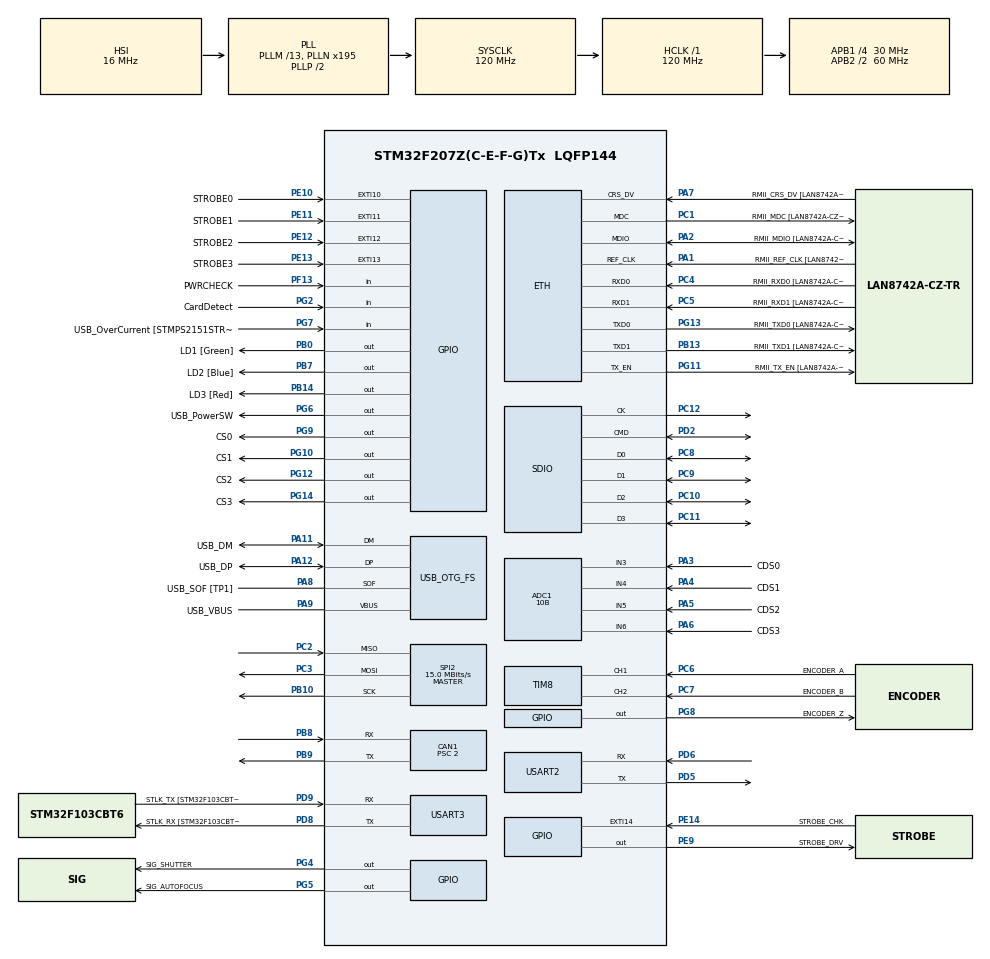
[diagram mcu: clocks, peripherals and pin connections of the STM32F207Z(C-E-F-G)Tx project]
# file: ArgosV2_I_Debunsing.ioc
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ADC1.Channel-0\#ChannelRegularConversion=ADC_CHANNEL_3
ADC1.Channel-1\#ChannelRegularConversion=ADC_CHANNEL_4
ADC1.Channel-2\#ChannelRegularConversion=ADC_CHANNEL_5
ADC1.Channel-3\#ChannelRegularConversion=ADC_CHANNEL_6
ADC1.NbrOfConversion=4
ADC1.NbrOfConversionFlag=1
ADC1.Rank-0\#ChannelRegularConversion=1
ADC1.Rank-1\#ChannelRegularConversion=2
ADC1.Rank-2\#ChannelRegularConversion=3
ADC1.Rank-3\#ChannelRegularConversion=4
ADC1.Resolution=ADC_RESOLUTION_10B
ADC1.SamplingTime-0\#ChannelRegularConversion=ADC_SAMPLETIME_3CYCLES
ADC1.SamplingTime-1\#ChannelRegularConversion=ADC_SAMPLETIME_3CYCLES
ADC1.SamplingTime-2\#ChannelRegularConversion=ADC_SAMPLETIME_3CYCLES
ADC1.SamplingTime-3\#ChannelRegularConversion=ADC_SAMPLETIME_3CYCLES
ADC1.master=1
CAN1.BS1=CAN_BS1_13TQ
CAN1.BS2=CAN_BS2_2TQ
CAN1.CalculateBaudRate=937500
CAN1.CalculateTimeBit=1066.66
CAN1.CalculateTimeQuantum=66.66666666666667
CAN1.Prescaler=2
Dma.ADC1.0.Direction=DMA_PERIPH_TO_MEMORY
Dma.ADC1.0.FIFOMode=DMA_FIFOMODE_DISABLE
Dma.ADC1.0.Instance=DMA2_Stream0
Dma.ADC1.0.MemDataAlignment=DMA_MDATAALIGN_WORD
Dma.ADC1.0.MemInc=DMA_MINC_ENABLE
Dma.ADC1.0.Mode=DMA_CIRCULAR
Dma.ADC1.0.PeriphDataAlignment=DMA_PDATAALIGN_WORD
Dma.ADC1.0.PeriphInc=DMA_PINC_DISABLE
Dma.ADC1.0.Priority=DMA_PRIORITY_LOW
Dma.Request0=ADC1
Dma.Request1=SDIO_RX
Dma.Request2=SDIO_TX
Dma.Request3=SPI2_RX
Dma.Request4=SPI2_TX
Dma.Request5=USART2_RX
Dma.Request6=USART2_TX
Dma.SDIO_RX.1.Direction=DMA_PERIPH_TO_MEMORY
Dma.SDIO_RX.1.FIFOMode=DMA_FIFOMODE_ENABLE
Dma.SDIO_RX.1.FIFOThreshold=DMA_FIFO_THRESHOLD_FULL
Dma.SDIO_RX.1.Instance=DMA2_Stream3
Dma.SDIO_RX.1.MemBurst=DMA_MBURST_INC4
Dma.SDIO_RX.1.MemDataAlignment=DMA_MDATAALIGN_WORD
Dma.SDIO_RX.1.MemInc=DMA_MINC_ENABLE
Dma.SDIO_RX.1.Mode=DMA_PFCTRL
Dma.SDIO_RX.1.PeriphBurst=DMA_PBURST_INC4
Dma.SDIO_RX.1.PeriphDataAlignment=DMA_PDATAALIGN_WORD
Dma.SDIO_RX.1.PeriphInc=DMA_PINC_DISABLE
Dma.SDIO_RX.1.Priority=DMA_PRIORITY_LOW
Dma.SDIO_TX.2.Direction=DMA_MEMORY_TO_PERIPH
Dma.SDIO_TX.2.FIFOMode=DMA_FIFOMODE_ENABLE
Dma.SDIO_TX.2.FIFOThreshold=DMA_FIFO_THRESHOLD_FULL
Dma.SDIO_TX.2.Instance=DMA2_Stream6
Dma.SDIO_TX.2.MemBurst=DMA_MBURST_INC4
Dma.SDIO_TX.2.MemDataAlignment=DMA_MDATAALIGN_WORD
Dma.SDIO_TX.2.MemInc=DMA_MINC_ENABLE
Dma.SDIO_TX.2.Mode=DMA_PFCTRL
Dma.SDIO_TX.2.PeriphBurst=DMA_PBURST_INC4
Dma.SDIO_TX.2.PeriphDataAlignment=DMA_PDATAALIGN_WORD
Dma.SDIO_TX.2.PeriphInc=DMA_PINC_DISABLE
Dma.SDIO_TX.2.Priority=DMA_PRIORITY_LOW
Dma.SPI2_RX.3.Direction=DMA_PERIPH_TO_MEMORY
Dma.SPI2_RX.3.FIFOMode=DMA_FIFOMODE_DISABLE
Dma.SPI2_RX.3.Instance=DMA1_Stream3
Dma.SPI2_RX.3.MemDataAlignment=DMA_MDATAALIGN_BYTE
Dma.SPI2_RX.3.MemInc=DMA_MINC_ENABLE
Dma.SPI2_RX.3.Mode=DMA_NORMAL
Dma.SPI2_RX.3.PeriphDataAlignment=DMA_PDATAALIGN_BYTE
Dma.SPI2_RX.3.PeriphInc=DMA_PINC_DISABLE
Dma.SPI2_RX.3.Priority=DMA_PRIORITY_LOW
Dma.SPI2_TX.4.Direction=DMA_MEMORY_TO_PERIPH
Dma.SPI2_TX.4.FIFOMode=DMA_FIFOMODE_DISABLE
Dma.SPI2_TX.4.Instance=DMA1_Stream4
Dma.SPI2_TX.4.MemDataAlignment=DMA_MDATAALIGN_BYTE
Dma.SPI2_TX.4.MemInc=DMA_MINC_ENABLE
Dma.SPI2_TX.4.Mode=DMA_NORMAL
Dma.SPI2_TX.4.PeriphDataAlignment=DMA_PDATAALIGN_BYTE
Dma.SPI2_TX.4.PeriphInc=DMA_PINC_DISABLE
Dma.SPI2_TX.4.Priority=DMA_PRIORITY_LOW
Dma.USART2_RX.5.Direction=DMA_PERIPH_TO_MEMORY
Dma.USART2_RX.5.FIFOMode=DMA_FIFOMODE_DISABLE
Dma.USART2_RX.5.Instance=DMA1_Stream5
Dma.USART2_RX.5.MemDataAlignment=DMA_MDATAALIGN_BYTE
Dma.USART2_RX.5.MemInc=DMA_MINC_ENABLE
Dma.USART2_RX.5.Mode=DMA_NORMAL
Dma.USART2_RX.5.PeriphDataAlignment=DMA_PDATAALIGN_BYTE
Dma.USART2_RX.5.PeriphInc=DMA_PINC_DISABLE
Dma.USART2_RX.5.Priority=DMA_PRIORITY_LOW
Dma.USART2_TX.6.Direction=DMA_MEMORY_TO_PERIPH
Dma.USART2_TX.6.FIFOMode=DMA_FIFOMODE_DISABLE
Dma.USART2_TX.6.Instance=DMA1_Stream6
Dma.USART2_TX.6.MemDataAlignment=DMA_MDATAALIGN_BYTE
Dma.USART2_TX.6.MemInc=DMA_MINC_ENABLE
Dma.USART2_TX.6.Mode=DMA_NORMAL
Dma.USART2_TX.6.PeriphDataAlignment=DMA_PDATAALIGN_BYTE
Dma.USART2_TX.6.PeriphInc=DMA_PINC_DISABLE
Dma.USART2_TX.6.Priority=DMA_PRIORITY_LOW
ETH.MediaInterface=ETH_MEDIA_INTERFACE_RMII
ETH.PHY_Name=LAN8742A_PHY_ADDRESS
ETH.PHY_Value=0
ETH.PhyAddress=0
FATFS.BSP.number=1
FATFS._CODE_PAGE=949
FATFS._LFN_UNICODE=1
FATFS._USE_LFN=2
FATFS0.BSP.STBoard=false
FATFS0.BSP.api=Unknown
FATFS0.BSP.i2caddr=0
FATFS0.BSP.instance=PG2
FATFS0.BSP.ip=GPIO
FATFS0.BSP.mode=Input
FATFS0.BSP.name=Detect_SDIO
FATFS0.BSP.solution=PG2
LWIP.GATEWAY_ADDRESS=192.168.001.001
LWIP.IP_ADDRESS=192.168.001.230
LWIP.LWIP_DHCP=0
LWIP.LWIP_ICMP=1
LWIP.LWIP_TCP=0
LWIP.NETMASK_ADDRESS=255.255.255.000
LWIP.Version=v2.0.3_Cube
Mcu.Family=STM32F2
Mcu.Name=STM32F207Z(C-E-F-G)Tx
Mcu.Package=LQFP144
NVIC.ADC_IRQn=true\:1\:0\:true\:false\:true\:true\:true
NVIC.CAN1_RX0_IRQn=true\:1\:0\:true\:false\:true\:true\:true
NVIC.CAN1_RX1_IRQn=true\:1\:0\:true\:false\:true\:true\:true
NVIC.CAN1_SCE_IRQn=true\:1\:0\:true\:false\:true\:true\:true
NVIC.CAN1_TX_IRQn=true\:1\:0\:true\:false\:true\:true\:true
NVIC.DMA1_Stream3_IRQn=true\:1\:0\:true\:false\:true\:false\:true
NVIC.DMA1_Stream4_IRQn=true\:1\:0\:true\:false\:true\:false\:true
NVIC.DMA1_Stream5_IRQn=true\:1\:0\:true\:false\:true\:false\:true
NVIC.DMA1_Stream6_IRQn=true\:1\:0\:true\:false\:true\:false\:true
NVIC.DMA2_Stream0_IRQn=true\:1\:0\:true\:false\:true\:false\:true
NVIC.DMA2_Stream3_IRQn=true\:1\:0\:true\:false\:true\:false\:true
NVIC.DMA2_Stream6_IRQn=true\:1\:0\:true\:false\:true\:false\:true
NVIC.ETH_IRQn=true\:1\:0\:true\:false\:true\:true\:true
NVIC.ETH_WKUP_IRQn=true\:1\:0\:true\:false\:true\:true\:true
NVIC.EXTI15_10_IRQn=true\:0\:0\:true\:false\:true\:true\:true
NVIC.OTG_FS_IRQn=true\:1\:0\:true\:false\:true\:false\:true
NVIC.PriorityGroup=NVIC_PRIORITYGROUP_4
NVIC.SDIO_IRQn=true\:1\:0\:true\:false\:true\:true\:true
NVIC.SPI2_IRQn=true\:1\:0\:true\:false\:true\:true\:true
NVIC.TIM3_IRQn=true\:1\:0\:true\:false\:true\:true\:true
NVIC.USART2_IRQn=true\:1\:0\:true\:false\:true\:true\:true
PA1.GPIO_Label=RMII_REF_CLK [LAN8742A-CZ-TR_REFCLK0]
PA1.Mode=RMII
PA1.Signal=ETH_REF_CLK
PA10.GPIO_Label=USB_ID
PA10.Signal=USB_OTG_FS_ID
PA11.GPIO_Label=USB_DM
PA11.Mode=Device_Only
PA11.Signal=USB_OTG_FS_DM
PA12.GPIO_Label=USB_DP
PA12.Mode=Device_Only
PA12.Signal=USB_OTG_FS_DP
PA13.GPIO_Label=TMS
PA13.Mode=Serial_Wire
PA13.Signal=SYS_JTMS-SWDIO
PA14.GPIO_Label=TCK
PA14.Mode=Serial_Wire
PA14.Signal=SYS_JTCK-SWCLK
PA2.GPIO_Label=RMII_MDIO [LAN8742A-CZ-TR_MDIO]
PA2.Mode=RMII
PA2.Signal=ETH_MDIO
PA3.GPIO_Label=CDS0
PA3.Signal=ADCx_IN3
PA4.GPIO_Label=CDS1
PA4.Signal=ADCx_IN4
PA5.GPIO_Label=CDS2
PA5.Signal=ADCx_IN5
PA6.GPIO_Label=CDS3
PA6.Signal=ADCx_IN6
PA7.GPIO_Label=RMII_CRS_DV [LAN8742A-CZ-TR_CRS_DV]
PA7.Mode=RMII
PA7.Signal=ETH_CRS_DV
PA8.GPIO_Label=USB_SOF [TP1]
PA8.Mode=Activate_SOF_FS
PA8.Signal=USB_OTG_FS_SOF
PA9.GPIO_Label=USB_VBUS
PA9.Mode=Activate_VBUS
PA9.Signal=USB_OTG_FS_VBUS
PB0.GPIO_Label=LD1 [Green]
PB0.GPIO_Speed=GPIO_SPEED_FREQ_VERY_HIGH
PB0.Signal=GPIO_Output
PB10.Mode=Full_Duplex_Master
PB10.Signal=SPI2_SCK
PB13.GPIO_Label=RMII_TXD1 [LAN8742A-CZ-TR_TXD1]
PB13.Mode=RMII
PB13.Signal=ETH_TXD1
PB14.GPIO_Label=LD3 [Red]
PB14.GPIO_Speed=GPIO_SPEED_FREQ_VERY_HIGH
PB14.Signal=GPIO_Output
PB3.GPIO_Label=SWO
PB3.Signal=SYS_JTDO-SWO
PB7.GPIO_Label=LD2 [Blue]
PB7.GPIO_Speed=GPIO_SPEED_FREQ_VERY_HIGH
PB7.Signal=GPIO_Output
PB8.Mode=CAN_Activate
PB8.Signal=CAN1_RX
PB9.Mode=CAN_Activate
PB9.Signal=CAN1_TX
PC1.GPIO_Label=RMII_MDC [LAN8742A-CZ-TR_MDC]
PC1.Mode=RMII
PC1.Signal=ETH_MDC
PC10.GPIO_PuPd=GPIO_PULLUP
PC10.Mode=SD_4_bits_Wide_bus
PC10.Signal=SDIO_D2
PC11.GPIO_PuPd=GPIO_PULLUP
PC11.Mode=SD_4_bits_Wide_bus
PC11.Signal=SDIO_D3
PC12.GPIO_PuPd=GPIO_NOPULL
PC12.Mode=SD_4_bits_Wide_bus
PC12.Signal=SDIO_CK
PC14-OSC32_IN.Mode=LSE-External-Oscillator
PC14-OSC32_IN.Signal=RCC_OSC32_IN
PC15-OSC32_OUT.Mode=LSE-External-Oscillator
PC15-OSC32_OUT.Signal=RCC_OSC32_OUT
PC2.Mode=Full_Duplex_Master
PC2.Signal=SPI2_MISO
PC3.Mode=Full_Duplex_Master
PC3.Signal=SPI2_MOSI
PC4.GPIO_Label=RMII_RXD0 [LAN8742A-CZ-TR_RXD0]
PC4.Mode=RMII
PC4.Signal=ETH_RXD0
PC5.GPIO_Label=RMII_RXD1 [LAN8742A-CZ-TR_RXD1]
PC5.Mode=RMII
PC5.Signal=ETH_RXD1
PC6.GPIO_Label=ENCODER_A
PC6.Signal=S_TIM8_CH1
PC7.GPIO_Label=ENCODER_B
PC7.Signal=S_TIM8_CH2
PC8.GPIO_PuPd=GPIO_PULLUP
PC8.Mode=SD_4_bits_Wide_bus
PC8.Signal=SDIO_D0
PC9.GPIO_PuPd=GPIO_PULLUP
PC9.Mode=SD_4_bits_Wide_bus
PC9.Signal=SDIO_D1
PD2.GPIO_PuPd=GPIO_PULLUP
PD2.Mode=SD_4_bits_Wide_bus
PD2.Signal=SDIO_CMD
PD5.Mode=Asynchronous
PD5.Signal=USART2_TX
PD6.Mode=Asynchronous
PD6.Signal=USART2_RX
PD8.GPIO_Label=STLK_RX [STM32F103CBT6_PA3]
PD8.Mode=Asynchronous
PD8.Signal=USART3_TX
PD9.GPIO_Label=STLK_TX [STM32F103CBT6_PA2]
PD9.Mode=Asynchronous
PD9.Signal=USART3_RX
PE10.GPIO_Label=STROBE0
PE10.GPIO_PuPd=GPIO_PULLUP
PE10.Signal=GPXTI10
PE11.GPIO_Label=STROBE1
PE11.GPIO_PuPd=GPIO_PULLUP
PE11.Signal=GPXTI11
PE12.GPIO_Label=STROBE2
PE12.GPIO_PuPd=GPIO_PULLUP
PE12.Signal=GPXTI12
PE13.GPIO_Label=STROBE3
PE13.GPIO_PuPd=GPIO_PULLUP
PE13.Signal=GPXTI13
PE14.GPIO_Label=STROBE_CHK
PE14.GPIO_PuPd=GPIO_PULLUP
PE14.Signal=GPXTI14
PE9.GPIO_Label=STROBE_DRV
PE9.GPIO_Speed=GPIO_SPEED_FREQ_VERY_HIGH
PE9.Signal=GPIO_Output
PF13.GPIO_Label=PWRCHECK
PF13.GPIO_PuPd=GPIO_PULLDOWN
PF13.Signal=GPIO_Input
PG10.GPIO_Label=CS1
PG10.Signal=GPIO_Output
PG11.GPIO_Label=RMII_TX_EN [LAN8742A-CZ-TR_TXEN]
PG11.Mode=RMII
PG11.Signal=ETH_TX_EN
PG12.GPIO_Label=CS2
PG12.Signal=GPIO_Output
PG13.GPIO_Label=RMII_TXD0 [LAN8742A-CZ-TR_TXD0]
PG13.Mode=RMII
PG13.Signal=ETH_TXD0
PG14.GPIO_Label=CS3
PG14.Signal=GPIO_Output
PG2.GPIO_Label=CardDetect
PG2.GPIO_PuPd=GPIO_PULLUP
PG2.Signal=GPIO_Input
PG4.GPIO_Label=SIG_SHUTTER
PG4.GPIO_Speed=GPIO_SPEED_FREQ_VERY_HIGH
PG4.Signal=GPIO_Output
PG5.GPIO_Label=SIG_AUTOFOCUS
PG5.Signal=GPIO_Output
PG6.GPIO_Label=USB_PowerSW
PG6.Signal=GPIO_Output
PG7.GPIO_Label=USB_OverCurrent [STMPS2151STR_FAULT]
PG7.Signal=GPIO_Input
PG8.GPIO_Label=ENCODER_Z
PG8.Signal=GPIO_Output
PG9.GPIO_Label=CS0
PG9.Signal=GPIO_Output
PH0-OSC_IN.GPIO_Label=MCO [STM32F103CBT6_PA8]
PH0-OSC_IN.Mode=HSE-External-Clock-Source
PH0-OSC_IN.Signal=RCC_OSC_IN
PH1-OSC_OUT.Mode=HSE-External-Clock-Source
PH1-OSC_OUT.Signal=RCC_OSC_OUT
ProjectManager.HeapSize=0x400
ProjectManager.StackSize=0x400
ProjectManager.TargetToolchain=STM32CubeIDE
RCC.48MHZClocksFreq_Value=48000000
RCC.AHBFreq_Value=120000000
RCC.APB1CLKDivider=RCC_HCLK_DIV4
RCC.APB1Freq_Value=30000000
RCC.APB1TimFreq_Value=60000000
RCC.APB2CLKDivider=RCC_HCLK_DIV2
RCC.APB2Freq_Value=60000000
RCC.APB2TimFreq_Value=120000000
RCC.CortexFreq_Value=120000000
RCC.HCLKFreq_Value=120000000
RCC.HSE_VALUE=8000000
RCC.HSI_VALUE=16000000
RCC.PLLM=13
RCC.PLLMUL=RCC_PLL_MUL9
RCC.PLLN=195
RCC.PLLQ=5
RCC.PRESCALERUSB=RCC_USBCLKSOURCE_PLL_DIV1_5
RCC.SYSCLKFreq_VALUE=120000000
RCC.SYSCLKSource=RCC_SYSCLKSOURCE_PLLCLK
RCC.SYSCLKSourceVirtual=RCC_SYSCLKSOURCE_PLLCLK
RCC.USBFreq_Value=48000000
RCC.VCOOutputFreq_Value=240000000
SDIO.ClockDiv=1
SH.ADCx_IN3.0=ADC1_IN3,IN3
SH.ADCx_IN4.0=ADC1_IN4,IN4
SH.ADCx_IN5.0=ADC1_IN5,IN5
SH.ADCx_IN6.0=ADC1_IN6,IN6
SH.S_TIM8_CH1.0=TIM8_CH1,Encoder_Interface
SH.S_TIM8_CH2.0=TIM8_CH2,Encoder_Interface
SPI2.CalculateBaudRate=15.0 MBits/s
SPI2.Direction=SPI_DIRECTION_2LINES
SPI2.Mode=SPI_MODE_MASTER
SPI2.VirtualType=VM_MASTER
TIM13.AutoReloadPreload=TIM_AUTORELOAD_PRELOAD_ENABLE
TIM13.Period=32767
TIM13.Prescaler=59999
TIM14.AutoReloadPreload=TIM_AUTORELOAD_PRELOAD_ENABLE
TIM14.Period=32767
TIM14.Prescaler=59999
TIM3.Period=44
TIM3.Prescaler=5999
TIM6.AutoReloadPreload=TIM_AUTORELOAD_PRELOAD_ENABLE
TIM6.Period=32767
TIM6.Prescaler=59999
TIM7.AutoReloadPreload=TIM_AUTORELOAD_PRELOAD_ENABLE
TIM7.Period=32767
TIM7.Prescaler=59999
TIM8.AutoReloadPreload=TIM_AUTORELOAD_PRELOAD_ENABLE
TIM8.EncoderMode=TIM_ENCODERMODE_TI1
USART2.VirtualMode=VM_ASYNC
USART3.VirtualMode=VM_ASYNC
USB_DEVICE.APP_RX_DATA_SIZE-CDC_FS=200
USB_DEVICE.APP_TX_DATA_SIZE-CDC_FS=200
USB_DEVICE.CLASS_NAME_FS=CDC
USB_DEVICE.MANUFACTURER_STRING-CDC_FS=Stryx.Inc
USB_DEVICE.PRODUCT_STRING_CDC_FS=WebMMS_Main
USB_DEVICE.VirtualMode-CDC_FS=Cdc
USB_DEVICE.VirtualModeFS=Cdc_FS
USB_OTG_FS.VirtualMode=Device_Only
VP_FATFS_VS_SDIO.Mode=SDIO
VP_LWIP_VS_Enabled.Mode=Enabled
VP_TIM13_VS_ClockSourceINT.Mode=Enable_Timer
VP_TIM14_VS_ClockSourceINT.Mode=Enable_Timer
VP_TIM3_VS_ClockSourceINT.Mode=Internal
VP_TIM6_VS_ClockSourceINT.Mode=Enable_Timer
VP_TIM7_VS_ClockSourceINT.Mode=Enable_Timer
VP_USB_DEVICE_VS_USB_DEVICE_CDC_FS.Mode=CDC_FS
board=NUCLEO-F207ZG

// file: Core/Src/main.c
/* USER CODE BEGIN Header */
/**
 ******************************************************************************
 * @file           : main.c
 * @brief          : Main program body
 ******************************************************************************
 * @attention
 *
 * <h2><center>&copy; Copyright (c) 2020 STMicroelectronics.
 * All rights reserved.</center></h2>
 *
 * This software component is licensed by ST under BSD 3-Clause license,
 * the "License"; You may not use this file except in compliance with the
 * License. You may obtain a copy of the License at:
 *                        opensource.org/licenses/BSD-3-Clause
 *
 ******************************************************************************
 */
/* USER CODE END Header */
#include "main.h"
#include "fatfs.h"
#include "lwip.h"
#include "usb_device.h"

/* USER CODE BEGIN Includes */
#include <stdio.h>
#include <stdbool.h>
#include <string.h>
#include <stdlib.h>
#include <math.h>

/* USER CODE END Includes */

/* USER CODE BEGIN PTD */
typedef struct _paramType
{
	int encoderTargetCount; // Iversion add
} __attribute__((aligned(1), packed)) WheelParam;
WheelParam wP;
/* USER CODE END PTD */

/* USER CODE BEGIN PD */
#define BACKUP_FLASH_ADDR 0x080E0000

#define TARGET_PULSE_NUMBER		1

#define DIVISOR					1

#define ENCODER_PULSE_COUNT		2000

#define TARGET_DISTANCE			5.0f
/* USER CODE END PD */

ADC_HandleTypeDef hadc1;
DMA_HandleTypeDef hdma_adc1;

CAN_HandleTypeDef hcan1;

SD_HandleTypeDef hsd;
DMA_HandleTypeDef hdma_sdio_rx;
DMA_HandleTypeDef hdma_sdio_tx;

SPI_HandleTypeDef hspi2;
DMA_HandleTypeDef hdma_spi2_rx;
DMA_HandleTypeDef hdma_spi2_tx;

TIM_HandleTypeDef htim6;
TIM_HandleTypeDef htim7;
TIM_HandleTypeDef htim8;
TIM_HandleTypeDef htim13;
TIM_HandleTypeDef htim14;

UART_HandleTypeDef huart2;
UART_HandleTypeDef huart3;
DMA_HandleTypeDef hdma_usart2_rx;
DMA_HandleTypeDef hdma_usart2_tx;

/* USER CODE BEGIN PV */

extern struct netif gnetif;

// CAN BUS
CAN_FilterTypeDef sFilterConfig;
CAN_RxHeaderTypeDef RxHeader;
CAN_TxHeaderTypeDef TxHeader;
uint8_t RxData[8];
uint8_t TxData[8]; // uint8_t TxData[8];
uint32_t TxMailBox;

//SD CARD
FATFS SDFatFs; /* File system object for SD disk logical drive */
FIL MyFile; /* File object */
char SDPath[4]; /* SD disk logical drive path */
static uint8_t buffer[_MAX_SS]; /* a work buffer for the f_mkfs() */

// DMI
int16_t A_PLS_CNT = 0, B_PLS_CNT = 0;

// USB
bool bFlag = false;
uint8_t UFlag = 0, EnterFlag = 0; // USB Select Flag, Enter key input
char UTxbuf[300], buf[130]; // USB Tx, ADC print buf
extern uint8_t URxbuf[200]; // USB Rx
int usbselect = 2;

// Encoder, ADC, STROBE
int16_t stbtim0 = 0, stbtim1 = 0, stbtim2 = 0, stbtim3 = 0, stbtimall = 0; // Strobe Timer
uint8_t setcdsvalue;
int adcValue[4]; // ADC DATA SAVE // I version : int adcValue[4]; // S version : int encoderTargetCount = -1, adcValue[4];
uint16_t stb0 = 0, stb1 = 0, stb2 = 0, stb3 = 0, stb_all = 0; // STROBE Count
uint8_t stbchk0, stbchk1, stbchk2, stbchk3; // STROBE CHECK FLAG

// UDP FLAG
extern uint8_t udp_flag;
extern uint8_t udp_data;
uint8_t udpIntput = 0;
uint8_t udpStop = 0;

// Camera
uint8_t cameraSelect = 0;
uint8_t cameraValue = 0;

/* USER CODE END PV */

void SystemClock_Config(void);
static void MX_GPIO_Init(void);
static void MX_DMA_Init(void);
static void MX_USART3_UART_Init(void);
static void MX_TIM3_Init(void);
static void MX_ADC1_Init(void);
static void MX_SDIO_SD_Init(void);
static void MX_TIM8_Init(void);
static void MX_SPI2_Init(void);
static void MX_CAN1_Init(void);
static void MX_USART2_UART_Init(void);
static void MX_TIM6_Init(void);
static void MX_TIM7_Init(void);
static void MX_TIM13_Init(void);
static void MX_TIM14_Init(void);

/* USER CODE BEGIN 0 */
void HAL_GPIO_EXTI_Callback(uint16_t GPIO_Pin)
{ // Strobe CHK
	if (GPIO_Pin == STROBE0_Pin) // 0x400
	{
		if (abs(TIM7->CNT - stbtim0) >= 33)
		{
			HAL_GPIO_TogglePin(LD1_GPIO_Port, LD1_Pin);
			stbchk0 = 1;
			stb0++;
		}
		stbtim0 = TIM7->CNT;
	}
	else if (GPIO_Pin == STROBE1_Pin) // 0x800
	{
		if (abs(TIM7->CNT - stbtim1) >= 33)
		{
			HAL_GPIO_TogglePin(LD2_GPIO_Port, LD2_Pin);
			stbchk1 = 1;
			stb1++;
		}
		stbtim1 = TIM7->CNT;
	}
	else if (GPIO_Pin == STROBE2_Pin) // 0x1000
	{
		if (abs(TIM7->CNT - stbtim2) >= 33)
		{
			HAL_GPIO_TogglePin(LD3_GPIO_Port, LD3_Pin);
			stbchk2 = 1;
			stb2++;
		}
		stbtim2 = TIM7->CNT;
	}
	else if (GPIO_Pin == STROBE3_Pin) // 0x2000
	{
		if (abs(TIM7->CNT - stbtim3) >= 33)
		{
			stbchk3 = 1;
			stb3++;
		}
		stbtim3 = TIM7->CNT;
	}
	else if (GPIO_Pin == STROBE_CHK_Pin)
	{
		if (abs(TIM7->CNT - stbtimall) >= 33)
		{
			stb_all++;
			HAL_GPIO_WritePin(STROBE_DRV_GPIO_Port, STROBE_DRV_Pin, SET);
		}
		stbtimall = TIM7->CNT;
	}
	/*
	 if (stbchk0 == 1 && stbchk1 == 1)
	 {
	 //HAL_GPIO_WritePin(LD1_GPIO_Port, LD1_Pin, SET);
	 HAL_GPIO_WritePin(STROBE_DRV_GPIO_Port, STROBE_DRV_Pin, SET);
	 stbchk0 = 0;
	 stbchk1 = 0;
	 stbchk2 = 0;
	 stbchk3 = 0;
	 }
	 */
}

void CAN_Transmit(int data)
{
	TxMailBox = HAL_CAN_GetTxMailboxesFreeLevel(&hcan1);
	TxData[0] = data;
	HAL_CAN_AddTxMessage(&hcan1, &TxHeader, TxData, &TxMailBox);
}

void HAL_CAN_RxFifo0MsgPendingCallback(CAN_HandleTypeDef *hcan1)
{

	RxHeader.StdId = 0;         //clear
	HAL_CAN_GetRxMessage(hcan1, CAN_RX_FIFO0, &RxHeader, &RxData[0]);
	if (RxData[0] == 0x01)
	{
		//xFlag = 'a';
		CDC_Transmit_FS((uint8_t*) "USB2 Activated\r\n", 16);
		//HAL_GPIO_TogglePin(STATUS_LED_GPIO_Port, STATUS_LED_Pin);
	}
	if (RxData[0] == 0x02)
	{
		//xFlag = 'b';
		CDC_Transmit_FS((uint8_t*) "USB3 Activated\r\n", 16);
		//HAL_GPIO_TogglePin(STATUS_LED_GPIO_Port, STATUS_LED_Pin);
	}
//HAL_GPIO_TogglePin(STATUS_LED_GPIO_Port, STATUS_LED_Pin);

	if ((RxHeader.StdId == 0x111) && (RxHeader.IDE == CAN_ID_STD)
			&& (RxHeader.DLC != 0))
	{
		//HAL_GPIO_TogglePin(STATUS_LED_GPIO_Port, STATUS_LED_Pin);
	}
}

void Camera_Configuration(uint8_t camera, uint16_t value)
{
// SPI 1. CS pin reset >> SPI Transmit >> CS pin set
	switch (camera)
	{
	case 0:
		HAL_GPIO_WritePin(CS0_GPIO_Port, CS0_Pin, RESET);
		HAL_SPI_Transmit(&hspi2, &value, 2, 1000);
		HAL_GPIO_WritePin(CS0_GPIO_Port, CS0_Pin, SET);
		break;
	case 1:
		HAL_GPIO_WritePin(CS1_GPIO_Port, CS1_Pin, RESET);
		HAL_SPI_Transmit(&hspi2, &value, 2, 1000);
		HAL_GPIO_WritePin(CS1_GPIO_Port, CS1_Pin, SET);
		break;
	case 2:
		HAL_GPIO_WritePin(CS2_GPIO_Port, CS2_Pin, RESET);
		HAL_SPI_Transmit(&hspi2, &value, 2, 1000);
		HAL_GPIO_WritePin(CS2_GPIO_Port, CS2_Pin, SET);
		break;
	case 3:
		HAL_GPIO_WritePin(CS3_GPIO_Port, CS3_Pin, RESET);
		HAL_SPI_Transmit(&hspi2, &value, 2, 1000);
		HAL_GPIO_WritePin(CS3_GPIO_Port, CS3_Pin, SET);
		break;
	default:
		break;
	}
}

void UDP_INPUT()
{
	if (udp_data == 'i')
	{
		udp_data = 0;
		udpIntput = 1;
		CDC_Transmit_FS((uint8_t*) "INPUT MODE Activated\r\n", 22);
	}
	else if (udp_data == 's')
	{
		udp_data = 0;
		udpIntput = 0;
	}
	/*
	 if (udp_flag)
	 {
	 wP.encoderTargetCount = atoi(&udp_data);
	 udp_flag = 0;
	 }*/
}

void DSLR_Action()
{
	HAL_GPIO_WritePin(SIG_AUTOFOCUS_GPIO_Port, SIG_AUTOFOCUS_Pin, SET);
	HAL_GPIO_WritePin(SIG_SHUTTER_GPIO_Port, SIG_SHUTTER_Pin, SET);
	HAL_GPIO_WritePin(STROBE_DRV_GPIO_Port, STROBE_DRV_Pin, RESET);
	LL_TIM_ClearFlag_UPDATE(TIM3);
	LL_TIM_EnableCounter(TIM3);
}

void ADC_Print()
{
	HAL_ADC_Start_DMA(&hadc1, adcValue, 4);
	for (int i = 0; i < 4; i++)
	{
		HAL_DMA_PollForTransfer(&hdma_adc1, HAL_DMA_FULL_TRANSFER, 1000);
	}
	HAL_ADC_Stop_DMA(&hadc1);
	switch (setcdsvalue)
	{
	case 1:
		break;
		sprintf(buf, "#%04d\r\n", adcValue[0]);
	case 2:
		break;
		sprintf(buf, "#%04d%04d\r\n", adcValue[0], adcValue[1]);
	case 3:
		break;
		sprintf(buf, "#%04d%04d%04d\r\n", adcValue[0], adcValue[1],
				adcValue[2]);
	case 4:
		break;
		sprintf(buf, "#%04d%04d%04d%04d\r\n", adcValue[0], adcValue[1],
				adcValue[2], adcValue[3]);
	default:
		sprintf(buf, "#%04d%04d\r\n", adcValue[0], adcValue[1]);
		break;
	}
	CDC_Transmit_FS(buf, strlen(buf));
}

float diameter(float radius)
{
	return (2 * 3.1415 * radius);
}

float rotationForShoot(float targetDistance, float wheelDiameter)
{
	return (targetDistance / wheelDiameter);
}

int targetPulseCount(float rotationCount, int encoderPulseCnt)
{
	return (int) ((((rotationCount * encoderPulseCnt) / TARGET_PULSE_NUMBER)
			/ DIVISOR));
}

void SaveWheelParam(WheelParam *wP)
{
	HAL_StatusTypeDef FlashStatus = HAL_OK;
	HAL_FLASH_Unlock();
	{
		FLASH_EraseInitTypeDef fler;
		uint32_t perr;
		fler.TypeErase = FLASH_TYPEERASE_SECTORS;
		fler.Banks = FLASH_BANK_1;
		fler.Sector = FLASH_SECTOR_11;
		fler.NbSectors = 1;

		HAL_FLASHEx_Erase(&fler, &perr);
		register uint32_t *_targetAddr = (uint32_t*) (wP);
		for (uint8_t i = 0; i <= (sizeof(WheelParam) * 2); i +=
				sizeof(uint32_t))
		{
			//FlashStatus = HAL_FLASH_Program(FLASH_TYPEPROGRAM_WORD,
			//BACKUP_FLASH_ADDR + i, _targetAddr[i / sizeof(uint32_t)]);

			while (HAL_FLASH_Program(FLASH_TYPEPROGRAM_WORD,
			BACKUP_FLASH_ADDR + i, _targetAddr[i / sizeof(uint32_t)]) != HAL_OK)
				;

		}
	}
	HAL_FLASH_Lock();
}
/* USER CODE END 0 */

int main(void)
{
	/* USER CODE BEGIN 1 */
	WheelParam wP;
	memcpy(&wP, (void*) (BACKUP_FLASH_ADDR), sizeof(WheelParam));

	stb0 = 0;
	stb1 = 0;
	stb2 = 0;
	stb3 = 0;
	stb_all = 0;
	/* USER CODE END 1 */

	/* MCU Configuration--------------------------------------------------------*/

	/* Reset of all peripherals, Initializes the Flash interface and the Systick. */
	HAL_Init();

	/* Configure the system clock */
	SystemClock_Config();

	/* Initialize all configured peripherals */
	MX_GPIO_Init();
	MX_DMA_Init();
	MX_USART3_UART_Init();
	MX_USB_DEVICE_Init();
	MX_TIM3_Init();
	MX_ADC1_Init();
	MX_SDIO_SD_Init();
	MX_TIM8_Init();
	MX_FATFS_Init();
	MX_LWIP_Init();
	MX_SPI2_Init();
	MX_CAN1_Init();
	MX_USART2_UART_Init();
	MX_TIM6_Init();
	MX_TIM7_Init();
	MX_TIM13_Init();
	MX_TIM14_Init();
	/* USER CODE BEGIN 2 */

	LL_TIM_EnableIT_UPDATE(TIM3);
	HAL_TIM_Encoder_Start(&htim8, TIM_CHANNEL_1); // DMI TIMER
	udp_echoserver_init(); // UDP

	HAL_CAN_Start(&hcan1); // CANBUS
	HAL_CAN_ActivateNotification(&hcan1, CAN_IT_RX_FIFO0_MSG_PENDING);

	HAL_TIM_Base_Start(&htim6);
	HAL_TIM_Base_Start(&htim7);
	HAL_TIM_Base_Start(&htim13);
	HAL_TIM_Base_Start(&htim14);

	/* USER CODE END 2 */

	/* Infinite loop */
	/* USER CODE BEGIN WHILE */
	UFlag = 0;
	bFlag = 0;
	while (1)
	{
		//MX_LWIP_Process();
		//UDP_INPUT();
		switch (UFlag)
		{
		case 1:
			sprintf(UTxbuf, "EncoderTargetCount= %d\r\n"
					"USB Select= %d.0 (default : 2.0)\r\n"
					"Auto triggering= %s\r\n", wP.encoderTargetCount, usbselect,
					(bFlag == true) ? ("Started\r\n") : ("Disabled\r\n"));
			CDC_Transmit_FS(UTxbuf, strlen(UTxbuf));
			UFlag = 0;
			bFlag = 0;
			break;
		case 2:
			CDC_Transmit_FS((uint8_t*) "Input EncoderTargetCount\r\n", 26);
			while (!EnterFlag)
			{
			}
			EnterFlag = 0;
			wP.encoderTargetCount = atoi(URxbuf);
			UFlag = 0;
			bFlag = 0;
			break;
		case 7:
			CDC_Transmit_FS("Saving current param...\r\n", 25);
			SaveWheelParam(&wP);
			UFlag = 0;
			break;
		case 8:
			CDC_Transmit_FS("USB Select 2.0\r\n", 14);
			usbselect = 2;
			CAN_Transmit(usbselect); // CAN_Transmit(atoi(URxbuf));
			UFlag = 0;
			break;
		case 9:
			CDC_Transmit_FS("USB Select 3.0\r\n", 14);
			usbselect = 3;
			CAN_Transmit(usbselect); // CAN_Transmit(atoi(URxbuf));
			UFlag = 0;
			break;

		default:
			UFlag = 0;
		}
		if (bFlag == 1)
		{
			A_PLS_CNT = TIM8->CNT;

			if (A_PLS_CNT >= wP.encoderTargetCount)
			{
				TIM8->CNT = 0;
				DSLR_Action(); // Driver Control
			}
			else if (A_PLS_CNT <= 0)
			{
				A_PLS_CNT = 0;
				//B_PLS_CNT = 0;
				TIM8->CNT = 0;
			}
		}
		/* USER CODE END WHILE */

	}
}

void SystemClock_Config(void)
{
	RCC_OscInitTypeDef RCC_OscInitStruct =
	{ 0 };
	RCC_ClkInitTypeDef RCC_ClkInitStruct =
	{ 0 };

	/** Initializes the RCC Oscillators according to the specified parameters
	 * in the RCC_OscInitTypeDef structure.
	 */
	RCC_OscInitStruct.OscillatorType = RCC_OSCILLATORTYPE_HSI;
	RCC_OscInitStruct.HSIState = RCC_HSI_ON;
	RCC_OscInitStruct.HSICalibrationValue = RCC_HSICALIBRATION_DEFAULT;
	RCC_OscInitStruct.PLL.PLLState = RCC_PLL_ON;
	RCC_OscInitStruct.PLL.PLLSource = RCC_PLLSOURCE_HSI;
	RCC_OscInitStruct.PLL.PLLM = 13;
	RCC_OscInitStruct.PLL.PLLN = 195;
	RCC_OscInitStruct.PLL.PLLP = RCC_PLLP_DIV2;
	RCC_OscInitStruct.PLL.PLLQ = 5;
	if (HAL_RCC_OscConfig(&RCC_OscInitStruct) != HAL_OK)
	{
		Error_Handler();
	}
	/** Initializes the CPU, AHB and APB buses clocks
	 */
	RCC_ClkInitStruct.ClockType = RCC_CLOCKTYPE_HCLK | RCC_CLOCKTYPE_SYSCLK
			| RCC_CLOCKTYPE_PCLK1 | RCC_CLOCKTYPE_PCLK2;
	RCC_ClkInitStruct.SYSCLKSource = RCC_SYSCLKSOURCE_PLLCLK;
	RCC_ClkInitStruct.AHBCLKDivider = RCC_SYSCLK_DIV1;
	RCC_ClkInitStruct.APB1CLKDivider = RCC_HCLK_DIV4;
	RCC_ClkInitStruct.APB2CLKDivider = RCC_HCLK_DIV2;

	if (HAL_RCC_ClockConfig(&RCC_ClkInitStruct, FLASH_LATENCY_3) != HAL_OK)
	{
		Error_Handler();
	}
}

static void MX_ADC1_Init(void)
{

	ADC_ChannelConfTypeDef sConfig =
	{ 0 };

	/** Configure the global features of the ADC (Clock, Resolution, Data Alignment and number of conversion)
	 */
	hadc1.Instance = ADC1;
	hadc1.Init.ClockPrescaler = ADC_CLOCK_SYNC_PCLK_DIV2;
	hadc1.Init.Resolution = ADC_RESOLUTION_10B;
	hadc1.Init.ScanConvMode = ENABLE;
	hadc1.Init.ContinuousConvMode = DISABLE;
	hadc1.Init.DiscontinuousConvMode = DISABLE;
	hadc1.Init.ExternalTrigConvEdge = ADC_EXTERNALTRIGCONVEDGE_NONE;
	hadc1.Init.ExternalTrigConv = ADC_SOFTWARE_START;
	hadc1.Init.DataAlign = ADC_DATAALIGN_RIGHT;
	hadc1.Init.NbrOfConversion = 4;
	hadc1.Init.DMAContinuousRequests = DISABLE;
	hadc1.Init.EOCSelection = ADC_EOC_SINGLE_CONV;
	if (HAL_ADC_Init(&hadc1) != HAL_OK)
	{
		Error_Handler();
	}
	/** Configure for the selected ADC regular channel its corresponding rank in the sequencer and its sample time.
	 */
	sConfig.Channel = ADC_CHANNEL_3;
	sConfig.Rank = 1;
	sConfig.SamplingTime = ADC_SAMPLETIME_3CYCLES;
	if (HAL_ADC_ConfigChannel(&hadc1, &sConfig) != HAL_OK)
	{
		Error_Handler();
	}
	/** Configure for the selected ADC regular channel its corresponding rank in the sequencer and its sample time.
	 */
	sConfig.Channel = ADC_CHANNEL_4;
	sConfig.Rank = 2;
	if (HAL_ADC_ConfigChannel(&hadc1, &sConfig) != HAL_OK)
	{
		Error_Handler();
	}
	/** Configure for the selected ADC regular channel its corresponding rank in the sequencer and its sample time.
	 */
	sConfig.Channel = ADC_CHANNEL_5;
	sConfig.Rank = 3;
	if (HAL_ADC_ConfigChannel(&hadc1, &sConfig) != HAL_OK)
	{
		Error_Handler();
	}
	/** Configure for the selected ADC regular channel its corresponding rank in the sequencer and its sample time.
	 */
	sConfig.Channel = ADC_CHANNEL_6;
	sConfig.Rank = 4;
	if (HAL_ADC_ConfigChannel(&hadc1, &sConfig) != HAL_OK)
	{
		Error_Handler();
	}

}

static void MX_CAN1_Init(void)
{

	/* USER CODE BEGIN CAN1_Init 0 */
	CAN_FilterTypeDef sFilterConfig;

	/* USER CODE END CAN1_Init 0 */

	hcan1.Instance = CAN1;
	hcan1.Init.Prescaler = 2;
	hcan1.Init.Mode = CAN_MODE_NORMAL;
	hcan1.Init.SyncJumpWidth = CAN_SJW_1TQ;
	hcan1.Init.TimeSeg1 = CAN_BS1_13TQ;
	hcan1.Init.TimeSeg2 = CAN_BS2_2TQ;
	hcan1.Init.TimeTriggeredMode = DISABLE;
	hcan1.Init.AutoBusOff = DISABLE;
	hcan1.Init.AutoWakeUp = DISABLE;
	hcan1.Init.AutoRetransmission = DISABLE;
	hcan1.Init.ReceiveFifoLocked = DISABLE;
	hcan1.Init.TransmitFifoPriority = DISABLE;
	if (HAL_CAN_Init(&hcan1) != HAL_OK)
	{
		Error_Handler();
	}
	/* USER CODE BEGIN CAN1_Init 2 */
	sFilterConfig.FilterBank = 0;
	sFilterConfig.FilterMode = CAN_FILTERMODE_IDMASK;
	sFilterConfig.FilterScale = CAN_FILTERSCALE_32BIT;
	sFilterConfig.FilterIdHigh = 0x0000 << 5;
	sFilterConfig.FilterIdLow = 0x0000;
	sFilterConfig.FilterMaskIdHigh = 0x0000 << 5;
	sFilterConfig.FilterMaskIdLow = 0x0000;
//sFilterConfig.FilterFIFOAssignment = CAN_RX_FIFO0;
	sFilterConfig.FilterFIFOAssignment = 0;
	sFilterConfig.FilterActivation = ENABLE;
//sFilterConfig.SlaveStartFilterBank = 14;
	sFilterConfig.SlaveStartFilterBank = 0;

	if (HAL_CAN_ConfigFilter(&hcan1, &sFilterConfig) != HAL_OK)
	{
		/* Filter configuration Error */
		Error_Handler();
	}

	/*##-5- Configure Transmission process #####################################*/
	TxHeader.StdId = 0x01;
	TxHeader.ExtId = 0x01;
	TxHeader.RTR = CAN_RTR_DATA;
	TxHeader.IDE = CAN_ID_STD;
	TxHeader.DLC = 8;
	TxHeader.TransmitGlobalTime = DISABLE;
	/* USER CODE END CAN1_Init 2 */

}

static void MX_SDIO_SD_Init(void)
{

	hsd.Instance = SDIO;
	hsd.Init.ClockEdge = SDIO_CLOCK_EDGE_RISING;
	hsd.Init.ClockBypass = SDIO_CLOCK_BYPASS_DISABLE;
	hsd.Init.ClockPowerSave = SDIO_CLOCK_POWER_SAVE_DISABLE;
	hsd.Init.BusWide = SDIO_BUS_WIDE_1B;
	hsd.Init.HardwareFlowControl = SDIO_HARDWARE_FLOW_CONTROL_DISABLE;
	hsd.Init.ClockDiv = 1;

}

static void MX_SPI2_Init(void)
{

	/* SPI2 parameter configuration*/
	hspi2.Instance = SPI2;
	hspi2.Init.Mode = SPI_MODE_MASTER;
	hspi2.Init.Direction = SPI_DIRECTION_2LINES;
	hspi2.Init.DataSize = SPI_DATASIZE_8BIT;
	hspi2.Init.CLKPolarity = SPI_POLARITY_LOW;
	hspi2.Init.CLKPhase = SPI_PHASE_1EDGE;
	hspi2.Init.NSS = SPI_NSS_SOFT;
	hspi2.Init.BaudRatePrescaler = SPI_BAUDRATEPRESCALER_2;
	hspi2.Init.FirstBit = SPI_FIRSTBIT_MSB;
	hspi2.Init.TIMode = SPI_TIMODE_DISABLE;
	hspi2.Init.CRCCalculation = SPI_CRCCALCULATION_DISABLE;
	hspi2.Init.CRCPolynomial = 10;
	if (HAL_SPI_Init(&hspi2) != HAL_OK)
	{
		Error_Handler();
	}

}

static void MX_TIM3_Init(void)
{

	LL_TIM_InitTypeDef TIM_InitStruct =
	{ 0 };

	/* Peripheral clock enable */
	LL_APB1_GRP1_EnableClock(LL_APB1_GRP1_PERIPH_TIM3);

	/* TIM3 interrupt Init */
	NVIC_SetPriority(TIM3_IRQn,
			NVIC_EncodePriority(NVIC_GetPriorityGrouping(), 1, 0));
	NVIC_EnableIRQ(TIM3_IRQn);

	TIM_InitStruct.Prescaler = 5999;
	TIM_InitStruct.CounterMode = LL_TIM_COUNTERMODE_UP;
	TIM_InitStruct.Autoreload = 44;
	TIM_InitStruct.ClockDivision = LL_TIM_CLOCKDIVISION_DIV1;
	LL_TIM_Init(TIM3, &TIM_InitStruct);
	LL_TIM_DisableARRPreload(TIM3);
	LL_TIM_SetClockSource(TIM3, LL_TIM_CLOCKSOURCE_INTERNAL);
	LL_TIM_SetTriggerOutput(TIM3, LL_TIM_TRGO_RESET);
	LL_TIM_DisableMasterSlaveMode(TIM3);

}

static void MX_TIM6_Init(void)
{

	TIM_MasterConfigTypeDef sMasterConfig =
	{ 0 };

	htim6.Instance = TIM6;
	htim6.Init.Prescaler = 59999;
	htim6.Init.CounterMode = TIM_COUNTERMODE_UP;
	htim6.Init.Period = 32767;
	htim6.Init.AutoReloadPreload = TIM_AUTORELOAD_PRELOAD_ENABLE;
	if (HAL_TIM_Base_Init(&htim6) != HAL_OK)
	{
		Error_Handler();
	}
	sMasterConfig.MasterOutputTrigger = TIM_TRGO_RESET;
	sMasterConfig.MasterSlaveMode = TIM_MASTERSLAVEMODE_DISABLE;
	if (HAL_TIMEx_MasterConfigSynchronization(&htim6, &sMasterConfig) != HAL_OK)
	{
		Error_Handler();
	}

}

static void MX_TIM7_Init(void)
{

	TIM_MasterConfigTypeDef sMasterConfig =
	{ 0 };

	htim7.Instance = TIM7;
	htim7.Init.Prescaler = 59999;
	htim7.Init.CounterMode = TIM_COUNTERMODE_UP;
	htim7.Init.Period = 32767;
	htim7.Init.AutoReloadPreload = TIM_AUTORELOAD_PRELOAD_ENABLE;
	if (HAL_TIM_Base_Init(&htim7) != HAL_OK)
	{
		Error_Handler();
	}
	sMasterConfig.MasterOutputTrigger = TIM_TRGO_RESET;
	sMasterConfig.MasterSlaveMode = TIM_MASTERSLAVEMODE_DISABLE;
	if (HAL_TIMEx_MasterConfigSynchronization(&htim7, &sMasterConfig) != HAL_OK)
	{
		Error_Handler();
	}

}

static void MX_TIM8_Init(void)
{

	TIM_Encoder_InitTypeDef sConfig =
	{ 0 };
	TIM_MasterConfigTypeDef sMasterConfig =
	{ 0 };

	htim8.Instance = TIM8;
	htim8.Init.Prescaler = 0;
	htim8.Init.CounterMode = TIM_COUNTERMODE_UP;
	htim8.Init.Period = 65535;
	htim8.Init.ClockDivision = TIM_CLOCKDIVISION_DIV1;
	htim8.Init.RepetitionCounter = 0;
	htim8.Init.AutoReloadPreload = TIM_AUTORELOAD_PRELOAD_ENABLE;
	sConfig.EncoderMode = TIM_ENCODERMODE_TI1;
	sConfig.IC1Polarity = TIM_ICPOLARITY_RISING;
	sConfig.IC1Selection = TIM_ICSELECTION_DIRECTTI;
	sConfig.IC1Prescaler = TIM_ICPSC_DIV1;
	sConfig.IC1Filter = 0;
	sConfig.IC2Polarity = TIM_ICPOLARITY_RISING;
	sConfig.IC2Selection = TIM_ICSELECTION_DIRECTTI;
	sConfig.IC2Prescaler = TIM_ICPSC_DIV1;
	sConfig.IC2Filter = 0;
	if (HAL_TIM_Encoder_Init(&htim8, &sConfig) != HAL_OK)
	{
		Error_Handler();
	}
	sMasterConfig.MasterOutputTrigger = TIM_TRGO_RESET;
	sMasterConfig.MasterSlaveMode = TIM_MASTERSLAVEMODE_DISABLE;
	if (HAL_TIMEx_MasterConfigSynchronization(&htim8, &sMasterConfig) != HAL_OK)
	{
		Error_Handler();
	}

}

static void MX_TIM13_Init(void)
{

	htim13.Instance = TIM13;
	htim13.Init.Prescaler = 59999;
	htim13.Init.CounterMode = TIM_COUNTERMODE_UP;
	htim13.Init.Period = 32767;
	htim13.Init.ClockDivision = TIM_CLOCKDIVISION_DIV1;
	htim13.Init.AutoReloadPreload = TIM_AUTORELOAD_PRELOAD_ENABLE;
	if (HAL_TIM_Base_Init(&htim13) != HAL_OK)
	{
		Error_Handler();
	}

}

static void MX_TIM14_Init(void)
{

	htim14.Instance = TIM14;
	htim14.Init.Prescaler = 59999;
	htim14.Init.CounterMode = TIM_COUNTERMODE_UP;
	htim14.Init.Period = 32767;
	htim14.Init.ClockDivision = TIM_CLOCKDIVISION_DIV1;
	htim14.Init.AutoReloadPreload = TIM_AUTORELOAD_PRELOAD_ENABLE;
	if (HAL_TIM_Base_Init(&htim14) != HAL_OK)
	{
		Error_Handler();
	}

}

static void MX_USART2_UART_Init(void)
{

	huart2.Instance = USART2;
	huart2.Init.BaudRate = 115200;
	huart2.Init.WordLength = UART_WORDLENGTH_8B;
	huart2.Init.StopBits = UART_STOPBITS_1;
	huart2.Init.Parity = UART_PARITY_NONE;
	huart2.Init.Mode = UART_MODE_TX_RX;
	huart2.Init.HwFlowCtl = UART_HWCONTROL_NONE;
	huart2.Init.OverSampling = UART_OVERSAMPLING_16;
	if (HAL_UART_Init(&huart2) != HAL_OK)
	{
		Error_Handler();
	}

}

static void MX_USART3_UART_Init(void)
{

	huart3.Instance = USART3;
	huart3.Init.BaudRate = 115200;
	huart3.Init.WordLength = UART_WORDLENGTH_8B;
	huart3.Init.StopBits = UART_STOPBITS_1;
	huart3.Init.Parity = UART_PARITY_NONE;
	huart3.Init.Mode = UART_MODE_TX_RX;
	huart3.Init.HwFlowCtl = UART_HWCONTROL_NONE;
	huart3.Init.OverSampling = UART_OVERSAMPLING_16;
	if (HAL_UART_Init(&huart3) != HAL_OK)
	{
		Error_Handler();
	}

}

static void MX_DMA_Init(void)
{

	/* DMA controller clock enable */
	__HAL_RCC_DMA2_CLK_ENABLE();
	__HAL_RCC_DMA1_CLK_ENABLE();

	/* DMA interrupt init */
	/* DMA1_Stream3_IRQn interrupt configuration */
	HAL_NVIC_SetPriority(DMA1_Stream3_IRQn, 1, 0);
	HAL_NVIC_EnableIRQ(DMA1_Stream3_IRQn);
	/* DMA1_Stream4_IRQn interrupt configuration */
	HAL_NVIC_SetPriority(DMA1_Stream4_IRQn, 1, 0);
	HAL_NVIC_EnableIRQ(DMA1_Stream4_IRQn);
	/* DMA1_Stream5_IRQn interrupt configuration */
	HAL_NVIC_SetPriority(DMA1_Stream5_IRQn, 1, 0);
	HAL_NVIC_EnableIRQ(DMA1_Stream5_IRQn);
	/* DMA1_Stream6_IRQn interrupt configuration */
	HAL_NVIC_SetPriority(DMA1_Stream6_IRQn, 1, 0);
	HAL_NVIC_EnableIRQ(DMA1_Stream6_IRQn);
	/* DMA2_Stream0_IRQn interrupt configuration */
	HAL_NVIC_SetPriority(DMA2_Stream0_IRQn, 1, 0);
	HAL_NVIC_EnableIRQ(DMA2_Stream0_IRQn);
	/* DMA2_Stream3_IRQn interrupt configuration */
	HAL_NVIC_SetPriority(DMA2_Stream3_IRQn, 1, 0);
	HAL_NVIC_EnableIRQ(DMA2_Stream3_IRQn);
	/* DMA2_Stream6_IRQn interrupt configuration */
	HAL_NVIC_SetPriority(DMA2_Stream6_IRQn, 1, 0);
	HAL_NVIC_EnableIRQ(DMA2_Stream6_IRQn);

}

static void MX_GPIO_Init(void)
{
	GPIO_InitTypeDef GPIO_InitStruct =
	{ 0 };

	/* GPIO Ports Clock Enable */
	__HAL_RCC_GPIOC_CLK_ENABLE();
	__HAL_RCC_GPIOH_CLK_ENABLE();
	__HAL_RCC_GPIOA_CLK_ENABLE();
	__HAL_RCC_GPIOB_CLK_ENABLE();
	__HAL_RCC_GPIOF_CLK_ENABLE();
	__HAL_RCC_GPIOE_CLK_ENABLE();
	__HAL_RCC_GPIOD_CLK_ENABLE();
	__HAL_RCC_GPIOG_CLK_ENABLE();

	/*Configure GPIO pin Output Level */
	HAL_GPIO_WritePin(GPIOB, LD1_Pin | LD3_Pin | LD2_Pin, GPIO_PIN_RESET);

	/*Configure GPIO pin Output Level */
	HAL_GPIO_WritePin(STROBE_DRV_GPIO_Port, STROBE_DRV_Pin, GPIO_PIN_RESET);

	/*Configure GPIO pin Output Level */
	HAL_GPIO_WritePin(GPIOG,
			SIG_SHUTTER_Pin | SIG_AUTOFOCUS_Pin | USB_PowerSW_Pin
					| ENCODER_Z_Pin | CS0_Pin | CS1_Pin | CS2_Pin | CS3_Pin,
			GPIO_PIN_RESET);

	/*Configure GPIO pins : LD1_Pin LD3_Pin LD2_Pin */
	GPIO_InitStruct.Pin = LD1_Pin | LD3_Pin | LD2_Pin;
	GPIO_InitStruct.Mode = GPIO_MODE_OUTPUT_PP;
	GPIO_InitStruct.Pull = GPIO_NOPULL;
	GPIO_InitStruct.Speed = GPIO_SPEED_FREQ_VERY_HIGH;
	HAL_GPIO_Init(GPIOB, &GPIO_InitStruct);

	/*Configure GPIO pin : PWRCHECK_Pin */
	GPIO_InitStruct.Pin = PWRCHECK_Pin;
	GPIO_InitStruct.Mode = GPIO_MODE_INPUT;
	GPIO_InitStruct.Pull = GPIO_PULLDOWN;
	HAL_GPIO_Init(PWRCHECK_GPIO_Port, &GPIO_InitStruct);

	/*Configure GPIO pin : STROBE_DRV_Pin */
	GPIO_InitStruct.Pin = STROBE_DRV_Pin;
	GPIO_InitStruct.Mode = GPIO_MODE_OUTPUT_PP;
	GPIO_InitStruct.Pull = GPIO_NOPULL;
	GPIO_InitStruct.Speed = GPIO_SPEED_FREQ_VERY_HIGH;
	HAL_GPIO_Init(STROBE_DRV_GPIO_Port, &GPIO_InitStruct);

	/*Configure GPIO pins : STROBE0_Pin STROBE1_Pin STROBE2_Pin STROBE3_Pin
	 STROBE_CHK_Pin */
	GPIO_InitStruct.Pin = STROBE0_Pin | STROBE1_Pin | STROBE2_Pin | STROBE3_Pin
			| STROBE_CHK_Pin;
	GPIO_InitStruct.Mode = GPIO_MODE_IT_RISING;
	GPIO_InitStruct.Pull = GPIO_PULLUP;
	HAL_GPIO_Init(GPIOE, &GPIO_InitStruct);

	/*Configure GPIO pin : CardDetect_Pin */
	GPIO_InitStruct.Pin = CardDetect_Pin;
	GPIO_InitStruct.Mode = GPIO_MODE_INPUT;
	GPIO_InitStruct.Pull = GPIO_PULLUP;
	HAL_GPIO_Init(CardDetect_GPIO_Port, &GPIO_InitStruct);

	/*Configure GPIO pin : SIG_SHUTTER_Pin */
	GPIO_InitStruct.Pin = SIG_SHUTTER_Pin;
	GPIO_InitStruct.Mode = GPIO_MODE_OUTPUT_PP;
	GPIO_InitStruct.Pull = GPIO_NOPULL;
	GPIO_InitStruct.Speed = GPIO_SPEED_FREQ_VERY_HIGH;
	HAL_GPIO_Init(SIG_SHUTTER_GPIO_Port, &GPIO_InitStruct);

	/*Configure GPIO pins : SIG_AUTOFOCUS_Pin USB_PowerSW_Pin ENCODER_Z_Pin CS0_Pin
	 CS1_Pin CS2_Pin CS3_Pin */
	GPIO_InitStruct.Pin = SIG_AUTOFOCUS_Pin | USB_PowerSW_Pin | ENCODER_Z_Pin
			| CS0_Pin | CS1_Pin | CS2_Pin | CS3_Pin;
	GPIO_InitStruct.Mode = GPIO_MODE_OUTPUT_PP;
	GPIO_InitStruct.Pull = GPIO_NOPULL;
	GPIO_InitStruct.Speed = GPIO_SPEED_FREQ_LOW;
	HAL_GPIO_Init(GPIOG, &GPIO_InitStruct);

	/*Configure GPIO pin : USB_OverCurrent_Pin */
	GPIO_InitStruct.Pin = USB_OverCurrent_Pin;
	GPIO_InitStruct.Mode = GPIO_MODE_INPUT;
	GPIO_InitStruct.Pull = GPIO_NOPULL;
	HAL_GPIO_Init(USB_OverCurrent_GPIO_Port, &GPIO_InitStruct);

	/* EXTI interrupt init*/
	HAL_NVIC_SetPriority(EXTI15_10_IRQn, 0, 0);
	HAL_NVIC_EnableIRQ(EXTI15_10_IRQn);

}

void Error_Handler(void)
{
}

/************************ (C) COPYRIGHT STMicroelectronics *****END OF FILE****/
